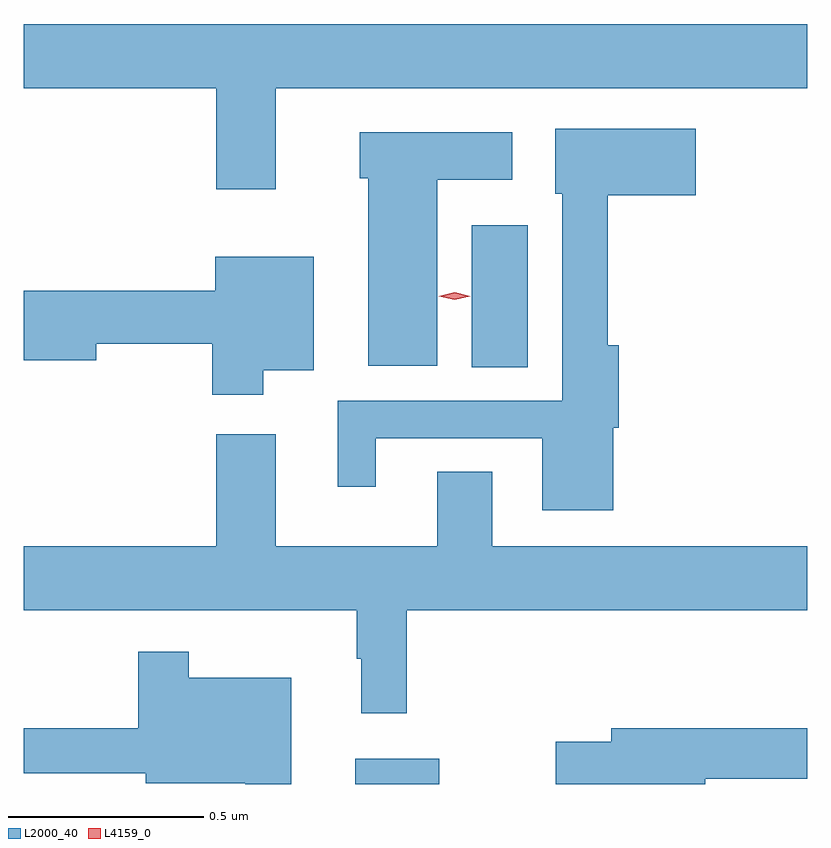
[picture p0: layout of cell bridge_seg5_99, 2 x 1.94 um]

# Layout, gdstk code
import gdstk
lib = gdstk.Library(unit=1e-6, precision=1e-09)
def R(c, l, rs):  # rectangles x0, y0, x1, y1
    for r in rs: c.add(gdstk.rectangle(r[:2], r[2:], *l))
def P(c, l, *ps):  # polygons
    for p in ps: c.add(gdstk.Polygon(p, *l))
L2000_40 = (2000, 40)
L4159_0 = (4159, 0)

bridge_seg5_99 = lib.new_cell('bridge_seg5_99')
R(bridge_seg5_99, L2000_40, [(610.607,910.929,610.822,910.993), (610.904,911.992,611.047,912.355)])
P(bridge_seg5_99, L2000_40, [(610.405,912.704),(611.761,912.704),(611.761,912.868),(609.761,912.868),(609.761,912.704),(610.253,912.704),(610.253,912.447),(610.405,912.447)],
  [(611.266,911.838),(611.279,911.838),(611.279,912.049),(611.252,912.049),(611.252,912.431),(611.476,912.431),(611.476,912.601),(611.117,912.601),(611.117,912.435),(611.136,912.435),(611.136,911.907),(610.562,911.907),(610.562,911.688),(610.66,911.688),(610.66,911.811),(611.084,911.811),(611.084,911.627),(611.266,911.627)],
  [(610.816,912.47),(611.008,912.47),(611.008,912.592),(610.619,912.592),(610.619,912.474),(610.64,912.474),(610.64,911.996),(610.816,911.996)],
  [(610.372,911.984),(610.501,911.984),(610.501,912.274),(610.25,912.274),(610.25,912.188),(609.761,912.188),(609.761,912.01),(609.946,912.01),(609.946,912.052),(610.243,912.052),(610.243,911.922),(610.372,911.922)],
  [(610.739,911.372),(611.761,911.372),(611.761,911.536),(610.957,911.536),(610.957,911.726),(610.817,911.726),(610.817,911.536),(610.405,911.536),(610.405,911.821),(610.253,911.821),(610.253,911.536),(609.761,911.536),(609.761,911.372),(610.611,911.372),(610.611,911.249),(610.622,911.249),(610.622,911.109),(610.739,911.109)],
  [(610.444,911.2),(610.183,911.2),(610.183,911.266),(610.054,911.266),(610.054,911.071),(609.761,911.071),(609.761,910.957),(610.073,910.957),(610.073,910.931),(610.327,910.931),(610.327,910.929),(610.444,910.929)],
  [(611.5,910.942),(611.761,910.942),(611.761,911.071),(611.261,911.071),(611.261,911.037),(611.119,911.037),(611.119,910.929),(611.5,910.929)])
P(bridge_seg5_99, L4159_0, [(610.861,912.164),(610.82,912.174),(610.82,912.174),(610.82,912.174),(610.861,912.184),(610.901,912.174),(610.901,912.174),(610.901,912.174)])

lib.write_gds('bridge_seg5_99.gds')
